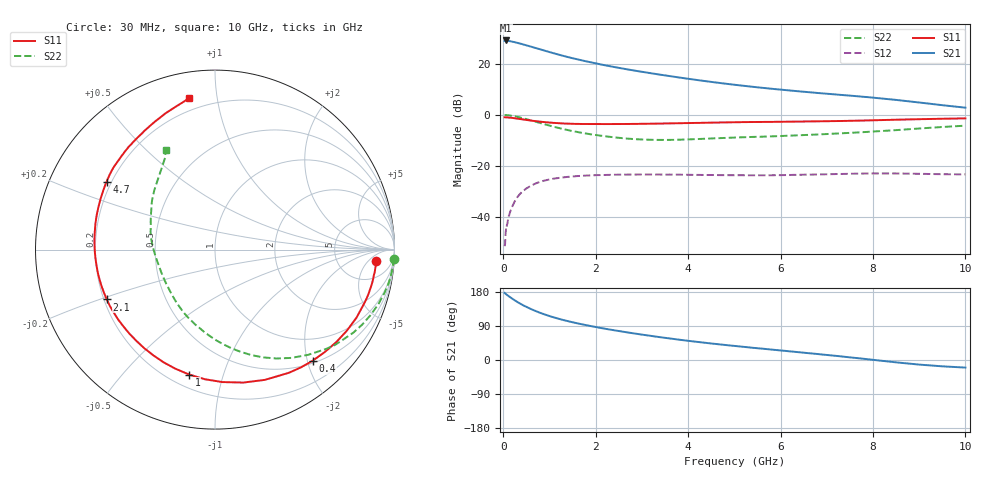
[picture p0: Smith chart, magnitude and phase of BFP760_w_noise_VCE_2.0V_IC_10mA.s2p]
! Infineon Technologies  Discrete & RF Semiconductors
! BFP760
! VCE =  2.0 V,  IC =  10 mA
! Common Emitter S-Parameters:  Nov 2012
# GHz  S  MA  R  50
!  f  S11  S21  S12  S22
! GHz  MAG  ANG  MAG  ANG  MAG  ANG  MAG  ANG
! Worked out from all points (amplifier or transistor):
!   99 points, 30 MHz to 10 GHz, reference 50 ohm
!   highest |S21| = 29.2 dB at 50 MHz (marker M1)
!   |S21| within 3 dB of that: start of sweep to 709.4 MHz
!   unconditionally stable (mu >= 1): 5.482 GHz to end of sweep
!   at 350 MHz: K = 0.13, MSG = 29.6 dB, |S12| = -31.2 dB
!   at 3.5 GHz: K = 0.68, MSG = 19.4 dB, |S12| = -23.3 dB
!   at 10 GHz: K = 1.19, MAG = 10.4 dB, |S12| = -23.3 dB
!   lowest NFmin = 0.48 dB at 900 MHz
!   S11 on the Smith chart (normalised r, x): 30 MHz: 13, -9; 400 MHz: 0.54, -2.09; 1 GHz: 0.28, -0.78; 2.1 GHz: 0.21, -0.21; 4.7 GHz: 0.18, +0.28; 10 GHz: 0.13, +0.84
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0.03  0.9012 -4.0  28.36 177.1  0.0027 99.9  0.9961 -2.9
0.04  0.9007 -5.3  28.4 176.3  0.003 89.1  0.9958 -3.8
0.05  0.8992 -6.6  28.76 174.7  0.0046 83.7  0.9955 -4.8
0.15  0.8847 -19.4  27.81 165.7  0.0127 79.2  0.9754 -14.1
0.25  0.8625 -31.6  26.59 157.4  0.0204 73.3  0.9401 -22.9
0.4  0.8243 -48.7  24.54 146.5  0.0308 63.8  0.8747 -34.7
0.5  0.8002 -59.1  23.11 140.3  0.0364 58.2  0.8288 -42.0
0.6  0.7773 -69.0  21.77 134.5  0.0412 53.6  0.7821 -48.6
0.7  0.7574 -78.0  20.48 129.3  0.0456 49.4  0.7384 -54.8
0.8  0.7392 -86.8  19.3 124.4  0.0493 45.4  0.6964 -60.6
1  0.7109 -101.7  17.06 116.0  0.0547 38.9  0.6199 -71.2
1.3  0.6818 -120.3  14.36 105.5  0.06 31.4  0.5289 -85.1
1.5  0.6712 -130.7  12.92 99.6  0.0625 27.7  0.4835 -93.2
1.7  0.6659 -139.9  11.73 94.3  0.0644 24.5  0.4466 -100.8
2.1  0.6641 -155.3  9.811 84.7  0.0666 19.1  0.3941 -115.6
2.7  0.6664 -173.5  7.773 72.6  0.0681 13.5  0.3438 -135.6
3.4  0.6792 169.6  6.144 60.1  0.0682 9.1  0.325 -157.3
4.7  0.7125 147.9  4.216 41.0  0.0664 5.1  0.3525 174.3
5.1  0.7223 143.5  3.817 36.0  0.0662 4.7  0.364 168.7
6.7  0.7491 129.3  2.747 17.0  0.0681 4.6  0.4114 150.0
8.5  0.8077 110.0  1.972 -6.2  0.0716 -0.5  0.505 129.0
10  0.8579 99.6  1.389 -20.0  0.0687 -1.5  0.6175 116.4
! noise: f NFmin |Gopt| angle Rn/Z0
0.9  0.48  0.22  28  0.1
1.8  0.54  0.16  58  0.09
2.4  0.59  0.14  85  0.08
3.5  0.73  0.12  129  0.08
5.5  0.97  0.28  -140  0.08
8  1.38  0.41  -95  0.25
